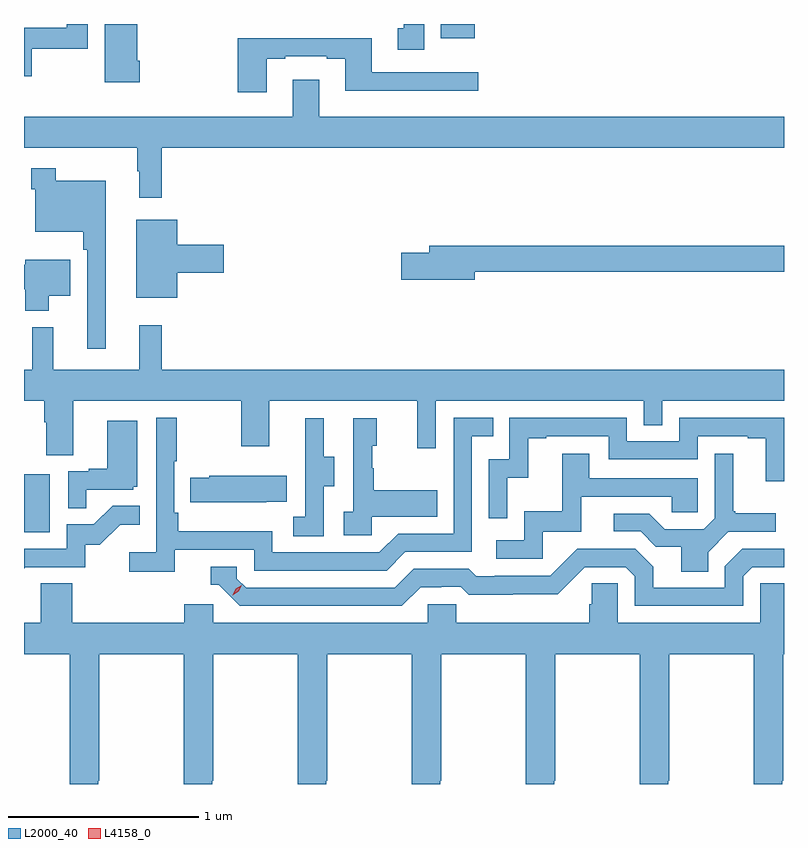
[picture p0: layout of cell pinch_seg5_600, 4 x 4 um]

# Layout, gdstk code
import gdstk
lib = gdstk.Library(unit=1e-6, precision=1e-09)
def R(c, l, rs):  # rectangles x0, y0, x1, y1
    for r in rs: c.add(gdstk.rectangle(r[:2], r[2:], *l))
def P(c, l, *ps):  # polygons
    for p in ps: c.add(gdstk.Polygon(p, *l))
L2000_40 = (2000, 40)
L4158_0 = (4158, 0)

pinch_seg5_600 = lib.new_cell('pinch_seg5_600')
R(pinch_seg5_600, L2000_40, [(1090.423,864.06,1090.558,864.367), (1092.617,866.66,1092.796,866.736)])
P(pinch_seg5_600, L2000_40, [(1091.033,866.542),(1091.02,866.542),(1091.02,866.736),(1090.847,866.736),(1090.847,866.43),(1091.033,866.43)],
  [(1090.465,866.607),(1090.758,866.607),(1090.758,866.736),(1090.649,866.736),(1090.649,866.716),(1090.423,866.716),(1090.423,866.46),(1090.465,866.46)],
  [(1092.529,866.736),(1092.422,866.736),(1092.422,866.714),(1092.389,866.714),(1092.389,866.601),(1092.529,866.601)],
  [(1091.701,866.553),(1091.797,866.553),(1091.797,866.565),(1092.017,866.565),(1092.017,866.553),(1092.113,866.553),(1092.113,866.384),(1092.814,866.384),(1092.814,866.481),(1092.253,866.481),(1092.253,866.662),(1091.549,866.662),(1091.549,866.376),(1091.701,866.376)],
  [(1090.423,866.084),(1091.019,866.084),(1091.019,865.961),(1091.03,865.961),(1091.03,865.821),(1091.147,865.821),(1091.147,866.084),(1094.423,866.084),(1094.423,866.248),(1091.977,866.248),(1091.977,866.443),(1091.837,866.443),(1091.837,866.248),(1090.423,866.248)],
  [(1090.852,865.912),(1090.591,865.912),(1090.591,865.978),(1090.462,865.978),(1090.462,865.865),(1090.482,865.865),(1090.482,865.643),(1090.735,865.643),(1090.735,865.547),(1090.755,865.547),(1090.755,865.026),(1090.852,865.026)],
  [(1091.23,865.427),(1091.473,865.427),(1091.473,865.574),(1091.23,865.574),(1091.23,865.705),(1091.015,865.705),(1091.015,865.295),(1091.23,865.295)],
  [(1092.796,865.432),(1094.423,865.432),(1094.423,865.568),(1092.557,865.568),(1092.557,865.532),(1092.408,865.532),(1092.408,865.39),(1092.796,865.39)],
  [(1090.552,865.307),(1090.666,865.307),(1090.666,865.495),(1090.43,865.495),(1090.43,865.469),(1090.423,865.469),(1090.423,865.341),(1090.43,865.341),(1090.43,865.226),(1090.552,865.226)],
  [(1090.681,864.752),(1091.566,864.752),(1091.566,864.513),(1091.713,864.513),(1091.713,864.752),(1092.494,864.752),(1092.494,864.504),(1092.591,864.504),(1092.591,864.752),(1093.686,864.752),(1093.686,864.625),(1093.782,864.625),(1093.782,864.752),(1094.423,864.752),(1094.423,864.916),(1091.147,864.916),(1091.147,865.15),(1091.03,865.15),(1091.03,864.916),(1090.577,864.916),(1090.577,865.141),(1090.467,865.141),(1090.467,864.916),(1090.423,864.916),(1090.423,864.752),(1090.529,864.752),(1090.529,864.64),(1090.541,864.64),(1090.541,864.466),(1090.681,864.466)],
  [(1091.216,863.97),(1091.634,863.97),(1091.634,863.859),(1092.331,863.859),(1092.43,863.958),(1092.78,863.958),(1092.78,864.567),(1092.893,864.567),(1092.893,864.663),(1092.684,864.663),(1092.684,864.054),(1092.393,864.054),(1092.294,863.955),(1091.73,863.955),(1091.73,864.067),(1091.234,864.067),(1091.234,864.163),(1091.214,864.163),(1091.214,864.436),(1091.227,864.436),(1091.227,864.664),(1091.118,864.664),(1091.118,863.956),(1090.977,863.956),(1090.977,863.854),(1091.216,863.854)],
  [(1092.966,864.347),(1093.076,864.347),(1093.076,864.555),(1093.171,864.555),(1093.171,864.567),(1093.5,864.567),(1093.5,864.444),(1093.968,864.444),(1093.968,864.567),(1094.231,864.567),(1094.231,864.555),(1094.327,864.555),(1094.327,864.329),(1094.423,864.329),(1094.423,864.663),(1093.872,864.663),(1093.872,864.54),(1093.596,864.54),(1093.596,864.663),(1092.978,864.663),(1092.978,864.444),(1092.87,864.444),(1092.87,864.135),(1092.966,864.135)],
  [(1092.252,864.143),(1092.599,864.143),(1092.599,864.283),(1092.265,864.283),(1092.265,864.398),(1092.255,864.398),(1092.255,864.516),(1092.28,864.516),(1092.28,864.661),(1092.156,864.661),(1092.156,864.17),(1092.105,864.17),(1092.105,864.045),(1092.252,864.045)],
  [(1092,864.304),(1092.055,864.304),(1092.055,864.459),(1092.001,864.459),(1092.001,864.661),(1091.903,864.661),(1091.903,864.447),(1091.904,864.447),(1091.904,864.143),(1091.841,864.143),(1091.841,864.04),(1092,864.04)],
  [(1090.751,864.285),(1090.998,864.285),(1090.998,864.3),(1091.02,864.3),(1091.02,864.649),(1090.862,864.649),(1090.862,864.394),(1090.763,864.394),(1090.763,864.381),(1090.656,864.381),(1090.656,864.187),(1090.751,864.187)],
  [(1094.023,863.956),(1094.13,864.063),(1094.38,864.063),(1094.38,864.16),(1094.167,864.16),(1094.167,864.172),(1094.155,864.172),(1094.155,864.475),(1094.058,864.475),(1094.058,864.135),(1094.001,864.078),(1093.795,864.078),(1093.714,864.159),(1093.527,864.159),(1093.527,864.066),(1093.668,864.066),(1093.748,863.986),(1093.883,863.986),(1093.883,863.854),(1094.023,863.854)],
  [(1093.152,864.063),(1093.357,864.063),(1093.357,864.249),(1093.831,864.249),(1093.831,864.165),(1093.968,864.165),(1093.968,864.345),(1093.399,864.345),(1093.399,864.475),(1093.255,864.475),(1093.255,864.172),(1093.056,864.172),(1093.056,864.018),(1092.909,864.018),(1092.909,863.922),(1093.152,863.922)],
  [(1091.699,864.221),(1091.807,864.221),(1091.807,864.358),(1091.397,864.358),(1091.397,864.348),(1091.299,864.348),(1091.299,864.218),(1091.699,864.218)],
  [(1090.427,863.877),(1090.746,863.877),(1090.746,863.994),(1090.822,863.994),(1090.929,864.101),(1091.033,864.101),(1091.033,864.2),(1090.889,864.2),(1090.791,864.102),(1090.647,864.102),(1090.647,863.973),(1090.423,863.973),(1090.423,863.872),(1090.427,863.872)],
  [(1092.511,863.772),(1092.618,863.772),(1092.618,863.775),(1092.721,863.775),(1092.763,863.733),(1092.996,863.733),(1092.996,863.735),(1093.232,863.735),(1093.374,863.877),(1093.59,863.877),(1093.638,863.829),(1093.638,863.673),(1094.208,863.673),(1094.208,863.829),(1094.256,863.877),(1094.423,863.877),(1094.423,863.975),(1094.418,863.975),(1094.418,863.973),(1094.202,863.973),(1094.112,863.883),(1094.112,863.769),(1093.735,863.769),(1093.735,863.879),(1093.641,863.973),(1093.335,863.973),(1093.194,863.832),(1092.901,863.832),(1092.901,863.829),(1092.802,863.829),(1092.763,863.868),(1092.474,863.868),(1092.375,863.769),(1091.592,863.769),(1091.544,863.817),(1091.544,863.88),(1091.405,863.88),(1091.405,863.784),(1091.448,863.784),(1091.559,863.673),(1092.412,863.673)],
  [(1090.815,862.753),(1090.818,862.753),(1090.818,863.42),(1091.263,863.42),(1091.263,862.753),(1091.265,862.753),(1091.265,862.736),(1091.415,862.736),(1091.415,862.753),(1091.418,862.753),(1091.418,863.42),(1091.863,863.42),(1091.863,862.753),(1091.865,862.753),(1091.865,862.736),(1092.015,862.736),(1092.015,862.753),(1092.018,862.753),(1092.018,863.42),(1092.463,863.42),(1092.463,862.753),(1092.465,862.753),(1092.465,862.736),(1092.615,862.736),(1092.615,862.753),(1092.618,862.753),(1092.618,863.42),(1093.063,863.42),(1093.063,862.753),(1093.065,862.753),(1093.065,862.736),(1093.215,862.736),(1093.215,862.753),(1093.218,862.753),(1093.218,863.42),(1093.663,863.42),(1093.663,862.753),(1093.665,862.753),(1093.665,862.736),(1093.815,862.736),(1093.815,862.753),(1093.818,862.753),(1093.818,863.42),(1094.263,863.42),(1094.263,862.753),(1094.265,862.753),(1094.265,862.736),(1094.415,862.736),(1094.415,862.753),(1094.418,862.753),(1094.418,863.42),(1094.423,863.42),(1094.423,863.792),(1094.298,863.792),(1094.298,863.584),(1093.548,863.584),(1093.548,863.792),(1093.411,863.792),(1093.411,863.682),(1093.397,863.682),(1093.397,863.584),(1092.699,863.584),(1092.699,863.682),(1092.549,863.682),(1092.549,863.584),(1091.418,863.584),(1091.418,863.682),(1091.267,863.682),(1091.267,863.584),(1090.676,863.584),(1090.676,863.792),(1090.511,863.792),(1090.511,863.584),(1090.423,863.584),(1090.423,863.42),(1090.663,863.42),(1090.663,862.753),(1090.665,862.753),(1090.665,862.736),(1090.815,862.736)])
P(pinch_seg5_600, L4158_0, [(1091.522,863.73),(1091.522,863.731),(1091.538,863.763),(1091.568,863.782),(1091.568,863.782),(1091.568,863.782),(1091.553,863.75),(1091.522,863.73)])

lib.write_gds('pinch_seg5_600.gds')
